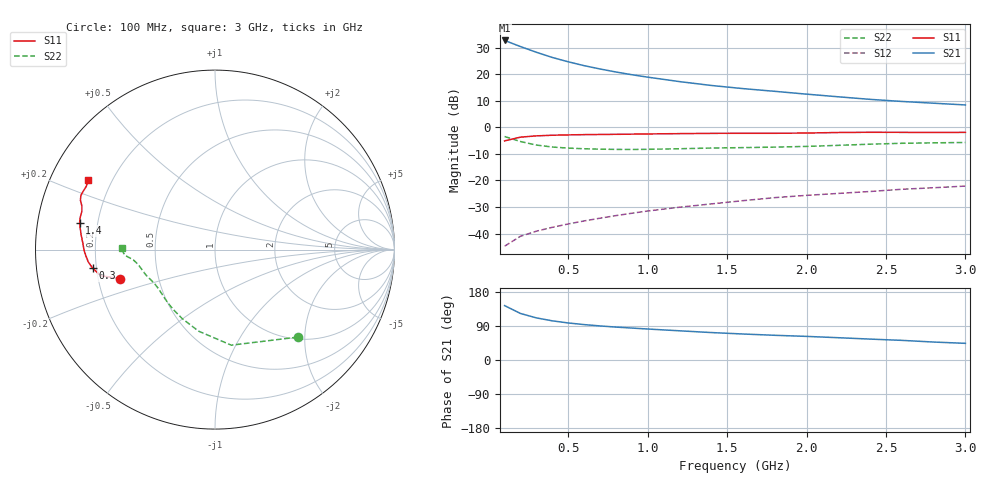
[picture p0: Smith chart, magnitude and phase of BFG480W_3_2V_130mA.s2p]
! Filename: 3_2130BFG480.001
! Title: BFG480W
! Bias: Vce=3.2V; Ic=130mA
! Company: Philips Semiconductors NL
! User: Quality&Reliability T&D
! Measure time: 10 Nov 1999 / 11:58:35
#  MHz  S  MA  R 50
! Freq  S11  S21  S12  S22  :
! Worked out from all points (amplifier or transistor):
!   20 points, 100 MHz to 3 GHz, reference 50 ohm
!   highest |S21| = 32.7 dB at 100 MHz (marker M1)
!   |S21| within 3 dB of that: start of sweep to 232.7 MHz
!   unconditionally stable (mu >= 1): 528.6 MHz to end of sweep
!   at 400 MHz: K = 0.92, MSG = 31.9 dB, |S12| = -37.6 dB
!   at 1.2 GHz: K = 1.11, MAG = 21.6 dB, |S12| = -30.1 dB
!   at 3 GHz: K = 1.08, MAG = 13.6 dB, |S12| = -22.1 dB
!   S11 on the Smith chart (normalised r, x): 100 MHz: 0.29, -0.14; 300 MHz: 0.18, -0.07; 1.4 GHz: 0.13, +0.10; 3 GHz: 0.12, +0.25
100  0.5557 -163.0  42.95 143.5  0.005819 67.8  0.671 -46.6
200  0.6532 -167.2  32.97 122.8  0.008943 61.0  0.5402 -80.3
300  0.6899 -171.4  25.75 111.1  0.01113 61.4  0.4634 -101.4
400  0.7096 -174.5  20.58 103.4  0.01315 63.8  0.4257 -115.4
500  0.7196 -177.1  17.06 97.8  0.01521 66.1  0.4062 -125.2
600  0.728 -179.3  14.43 93.4  0.01734 68.0  0.395 -132.3
700  0.7331 178.8  12.5 89.9  0.01954 70.1  0.388 -137.7
800  0.7378 177.0  10.97 86.9  0.02184 71.6  0.3841 -142.2
900  0.7437 175.3  9.75 84.3  0.0242 73.2  0.3833 -146.0
1000  0.7499 173.8  8.774 81.8  0.02668 73.9  0.3852 -149.4
1200  0.7604 171.0  7.238 77.1  0.03141 75.2  0.3952 -154.8
1400  0.769 168.8  6.122 72.4  0.03623 75.8  0.4073 -158.8
1600  0.7722 166.5  5.341 68.6  0.04174 76.3  0.415 -161.9
1800  0.7716 164.0  4.749 65.2  0.04759 76.6  0.424 -165.4
2000  0.7804 161.9  4.202 62.3  0.0525 77.0  0.4373 -169.3
2200  0.7985 159.9  3.746 58.8  0.05711 76.8  0.4578 -172.7
2400  0.8058 158.1  3.353 55.2  0.06208 76.1  0.4817 -174.8
2600  0.8036 156.3  3.063 51.8  0.06837 75.3  0.5005 -176.2
2800  0.7991 154.0  2.838 47.4  0.07302 73.8  0.5103 -177.9
3000  0.8035 151.4  2.634 44.0  0.07849 72.9  0.5185 179.2
